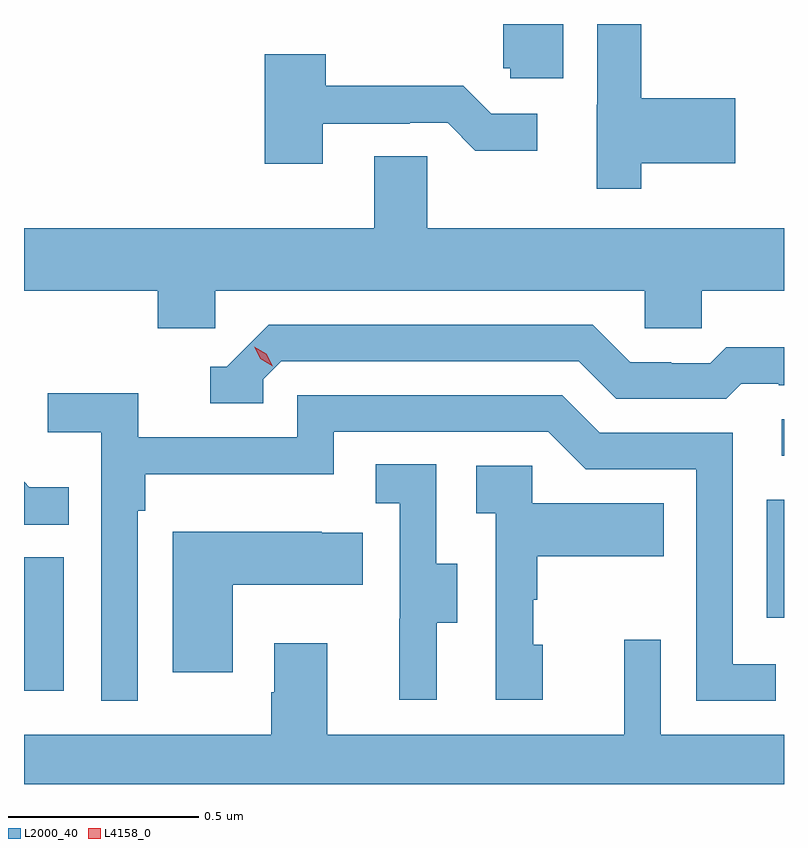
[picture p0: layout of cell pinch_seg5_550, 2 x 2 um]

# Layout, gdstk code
import gdstk
lib = gdstk.Library(unit=1e-6, precision=1e-09)
def R(c, l, rs):  # rectangles x0, y0, x1, y1
    for r in rs: c.add(gdstk.rectangle(r[:2], r[2:], *l))
def P(c, l, *ps):  # polygons
    for p in ps: c.add(gdstk.Polygon(p, *l))
L2000_40 = (2000, 40)
L4158_0 = (4158, 0)

pinch_seg5_550 = lib.new_cell('pinch_seg5_550')
R(pinch_seg5_550, L2000_40, [(953.497,843.72,953.602,844.071), (955.452,843.912,955.497,844.222), (955.491,844.338,955.497,844.434)])
P(pinch_seg5_550, L2000_40, [(955.121,845.108),(955.369,845.108),(955.369,845.279),(955.121,845.279),(955.121,845.474),(955.005,845.474),(955.005,845.262),(955.004,845.262),(955.004,845.04),(955.121,845.04)],
  [(954.916,845.474),(954.758,845.474),(954.758,845.358),(954.777,845.358),(954.777,845.331),(954.916,845.331)],
  [(954.283,845.211),(954.512,845.211),(954.512,845.214),(954.612,845.214),(954.685,845.141),(954.847,845.141),(954.847,845.238),(954.726,845.238),(954.653,845.311),(954.291,845.311),(954.291,845.395),(954.131,845.395),(954.131,845.106),(954.283,845.106)],
  [(954,844.772),(955.131,844.772),(955.131,844.674),(955.281,844.674),(955.281,844.772),(955.497,844.772),(955.497,844.936),(954.558,844.936),(954.558,845.126),(954.419,845.126),(954.419,844.936),(953.497,844.936),(953.497,844.772),(953.849,844.772),(953.849,844.674),(954,844.674)],
  [(954.126,844.539),(954.174,844.587),(954.957,844.587),(955.056,844.488),(955.345,844.488),(955.384,844.527),(955.483,844.527),(955.483,844.524),(955.497,844.524),(955.497,844.624),(955.345,844.624),(955.303,844.581),(955.2,844.581),(955.2,844.584),(955.093,844.584),(954.994,844.683),(954.141,844.683),(954.03,844.572),(953.987,844.572),(953.987,844.476),(954.126,844.476)],
  [(953.796,844.193),(953.816,844.193),(953.816,844.289),(954.312,844.289),(954.312,844.401),(954.876,844.401),(954.975,844.302),(955.266,844.302),(955.266,843.693),(955.475,843.693),(955.475,843.789),(955.362,843.789),(955.362,844.398),(955.012,844.398),(954.913,844.497),(954.216,844.497),(954.216,844.386),(953.798,844.386),(953.798,844.502),(953.559,844.502),(953.559,844.4),(953.7,844.4),(953.7,843.693),(953.796,843.693)],
  [(954.583,843.898),(954.637,843.898),(954.637,844.053),(954.582,844.053),(954.582,844.316),(954.423,844.316),(954.423,844.213),(954.486,844.213),(954.486,843.909),(954.485,843.909),(954.485,843.696),(954.583,843.696)],
  [(954.862,843.84),(954.837,843.84),(954.837,843.959),(954.847,843.959),(954.847,844.073),(955.181,844.073),(955.181,844.213),(954.834,844.213),(954.834,844.311),(954.687,844.311),(954.687,844.187),(954.738,844.187),(954.738,843.696),(954.862,843.696)],
  [(953.615,844.255),(953.511,844.255),(953.497,844.269),(953.497,844.156),(953.615,844.156)],
  [(954.046,843.998),(954.389,843.998),(954.389,844.135),(954.281,844.135),(954.281,844.138),(953.888,844.138),(953.888,843.768),(954.046,843.768)],
  [(955.497,843.604),(955.173,843.604),(955.173,843.853),(955.076,843.853),(955.076,843.604),(954.295,843.604),(954.295,843.844),(954.155,843.844),(954.155,843.716),(954.148,843.716),(954.148,843.604),(953.497,843.604),(953.497,843.474),(955.497,843.474)])
P(pinch_seg5_550, L4158_0, [(954.151,844.573),(954.119,844.593),(954.103,844.625),(954.103,844.625),(954.103,844.625),(954.134,844.606),(954.151,844.574),(954.151,844.573)])

lib.write_gds('pinch_seg5_550.gds')
